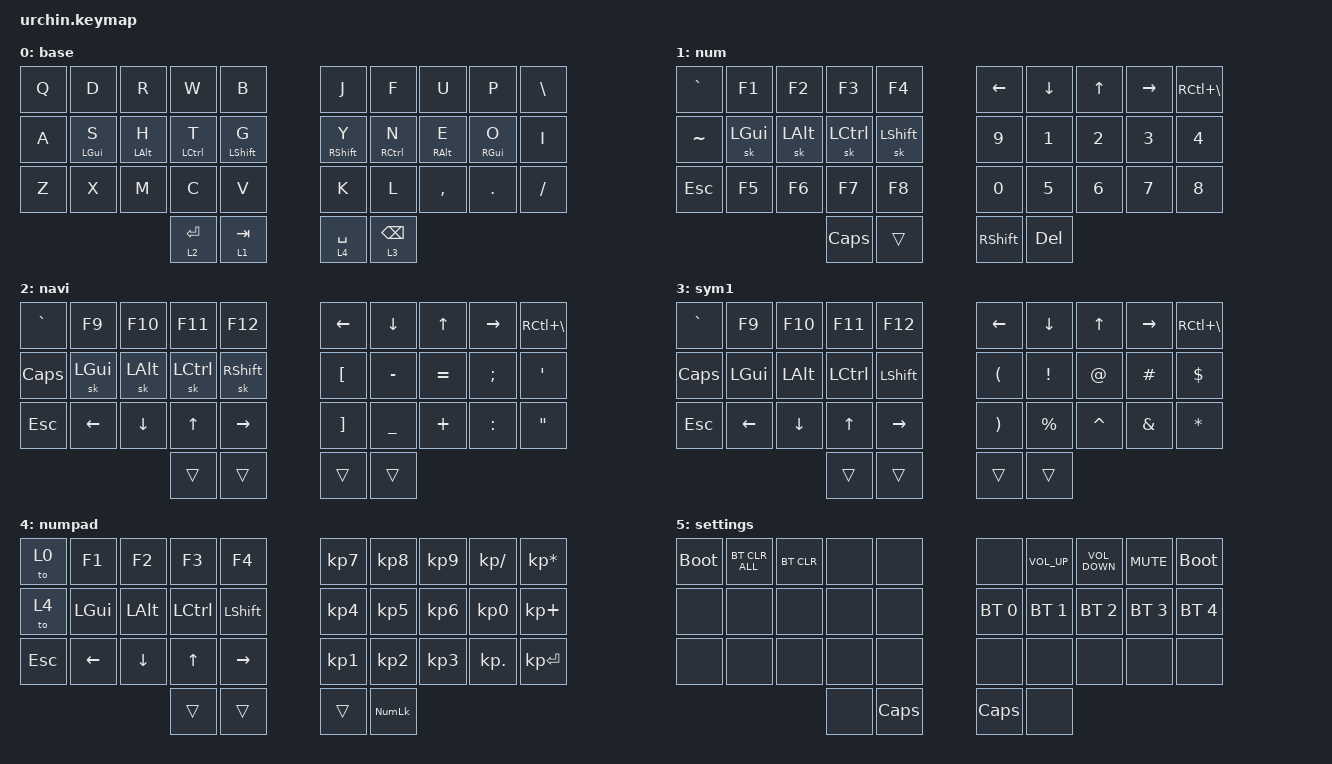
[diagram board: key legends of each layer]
/*
 * Copyright (c) 2020 The ZMK Contributors
 *
 * SPDX-License-Identifier: MIT
 */

#include <behaviors.dtsi>
#include <dt-bindings/zmk/bt.h>
#include <dt-bindings/zmk/keys.h>

/ {
    behaviors {
        hm: balanced_homerow_mods {
            compatible = "zmk,behavior-hold-tap";
            #binding-cells = <2>;
            tapping-term-ms = <250>;
            quick-tap-ms = <200>;
            flavor = "tap-preferred";
            bindings = <&kp>, <&kp>;
        };
    };

    macros {
        unstick: unstick {
            label = "ZM_unstick";
            compatible = "zmk,behavior-macro";
            #binding-cells = <0>;
            bindings = <&kp LSHIFT &kp RSHIFT &kp LCTRL &kp RCTRL &kp LALT &kp RALT &kp LGUI &kp RGUI>;
        };
    };

    combos {
        compatible = "zmk,combos";

        combo_settings1 {
            timeout-ms = <200>;
            key-positions = <21 22 23>;
            bindings = <&mo 5>;
        };

        combo_settings2 {
            bindings = <&mo 5>;
            key-positions = <26 27 28>;
            timeout-ms = <200>;
        };
    };

    keymap {
        compatible = "zmk,keymap";

        qwerty {
            label = "base";
            bindings = <
  &kp Q  &kp D           &kp R           &kp W               &kp B               &kp J              &kp F                &kp U            &kp P            &kp BSLH
  &kp A  &hm LEFT_GUI S  &hm LEFT_ALT H  &hm LEFT_CONTROL T  &hm LEFT_SHIFT G    &hm RIGHT_SHIFT Y  &hm RIGHT_CONTROL N  &hm RIGHT_ALT E  &hm RIGHT_GUI O  &kp I
  &kp Z  &kp X           &kp M           &kp C               &kp V               &kp K              &kp L                &kp COMMA        &kp DOT          &kp SLASH
                                         &lt 2 ENTER         &lt 1 TAB           &lt 4 SPACE        &lt 3 BACKSPACE
            >;
        };

        numfun_layer {
            label = "num";
            bindings = <
  &kp GRAVE  &kp F1        &kp F2        &kp F3            &kp F4            &kp LEFT_ARROW   &kp DOWN_ARROW  &kp UP_ARROW  &kp RIGHT_ARROW  &kp RC(BACKSLASH)
  &kp TILDE  &sk LEFT_GUI  &sk LEFT_ALT  &sk LEFT_CONTROL  &sk LEFT_SHIFT    &kp N9           &kp N1          &kp N2        &kp N3           &kp N4
  &kp ESC    &kp F5        &kp F6        &kp F7            &kp F8            &kp N0           &kp N5          &kp N6        &kp N7           &kp N8
                                         &kp CAPSLOCK      &trans            &kp RIGHT_SHIFT  &kp DELETE
            >;
        };

        navigation_layer {
            label = "navi";
            bindings = <
  &kp GRAVE     &kp F9          &kp F10       &kp F11           &kp F12            &kp LEFT_ARROW     &kp DOWN_ARROW  &kp UP_ARROW  &kp RIGHT_ARROW  &kp RC(BACKSLASH)
  &kp CAPSLOCK  &sk LEFT_GUI    &sk LEFT_ALT  &sk LEFT_CONTROL  &sk RIGHT_SHIFT    &kp LEFT_BRACKET   &kp MINUS       &kp EQUAL     &kp SEMICOLON    &kp SINGLE_QUOTE
  &kp ESCAPE    &kp LEFT_ARROW  &kp DOWN      &kp UP_ARROW      &kp RIGHT          &kp RIGHT_BRACKET  &kp UNDERSCORE  &kp PLUS      &kp COLON        &kp DOUBLE_QUOTES
                                              &trans            &trans             &trans             &trans
            >;
        };

        symbols1_layer {
            label = "sym1";
            bindings = <
  &kp GRAVE     &kp F9          &kp F10         &kp F11       &kp F12            &kp LEFT_ARROW         &kp DOWN_ARROW   &kp UP_ARROW  &kp RIGHT      &kp RC(BACKSLASH)
  &kp CAPSLOCK  &kp LGUI        &kp LALT        &kp LCTRL     &kp LSHFT          &kp LEFT_PARENTHESIS   &kp EXCLAMATION  &kp AT_SIGN   &kp HASH       &kp DOLLAR
  &kp ESCAPE    &kp LEFT_ARROW  &kp DOWN_ARROW  &kp UP_ARROW  &kp RIGHT_ARROW    &kp RIGHT_PARENTHESIS  &kp PERCENT      &kp CARET     &kp AMPERSAND  &kp ASTERISK
                                                &trans        &trans             &trans                 &trans
            >;
        };

        numpad_layer {
            label = "numpad";
            bindings = <
  &to 0       &kp F1          &kp F2          &kp F3        &kp F4             &kp KP_NUMBER_7  &kp KP_NUMBER_8  &kp KP_NUMBER_9  &kp KP_DIVIDE    &kp KP_ASTERISK
  &to 4       &kp LGUI        &kp LALT        &kp LCTRL     &kp LSHFT          &kp KP_NUMBER_4  &kp KP_NUMBER_5  &kp KP_NUMBER_6  &kp KP_NUMBER_0  &kp KP_PLUS
  &kp ESCAPE  &kp LEFT_ARROW  &kp DOWN_ARROW  &kp UP_ARROW  &kp RIGHT_ARROW    &kp KP_NUMBER_1  &kp KP_NUMBER_2  &kp KP_NUMBER_3  &kp KP_DOT       &kp KP_ENTER
                                              &trans        &trans             &trans           &kp KP_NUMLOCK
            >;
        };

        settings_layer {
            label = "settings";
            bindings = <
  &bootloader  &bt BT_CLR_ALL  &bt BT_CLR  &none  &none           &none         &kp C_VOLUME_UP  &kp C_VOLUME_DOWN  &kp K_MUTE    &bootloader
  &none        &none           &none       &none  &none           &bt BT_SEL 0  &bt BT_SEL 1     &bt BT_SEL 2       &bt BT_SEL 3  &bt BT_SEL 4
  &none        &none           &none       &none  &none           &none         &none            &none              &none         &none
                                           &none  &kp CAPSLOCK    &kp CAPSLOCK  &none
            >;
        };
    };

    conditional_layers { compatible = "zmk,conditional-layers"; };
};
